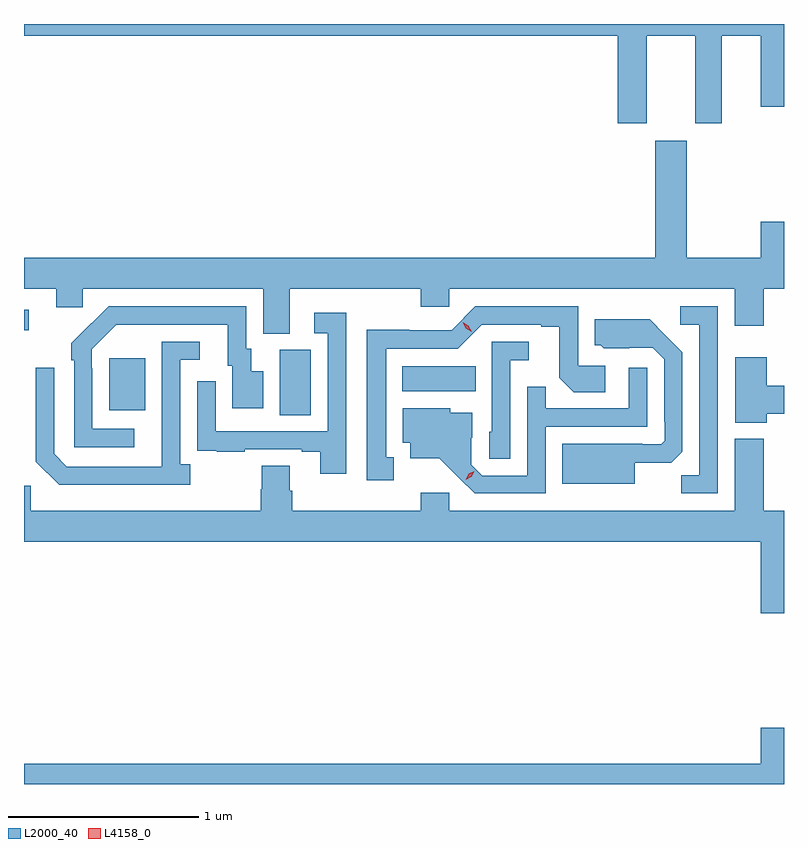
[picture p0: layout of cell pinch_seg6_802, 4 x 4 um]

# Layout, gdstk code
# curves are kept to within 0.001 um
import gdstk
lib = gdstk.Library(unit=1e-6, precision=1e-09)
def R(c, l, rs):  # rectangles x0, y0, x1, y1
    for r in rs: c.add(gdstk.rectangle(r[:2], r[2:], *l))
def P(c, l, *ps):  # polygons
    for p in ps: c.add(gdstk.Polygon(p, *l))
L2000_40 = (2000, 40)
L4158_0 = (4158, 0)

pinch_seg6_802 = lib.new_cell('pinch_seg6_802')
R(pinch_seg6_802, L2000_40, [(126.512,967.984,126.676,968.328), (125.615,968.009,125.803,968.284), (127.157,968.108,127.544,968.242), (125.166,968.43,125.191,968.538)])
P(pinch_seg6_802, L2000_40, [(128.443,969.98),(128.699,969.98),(128.699,969.519),(128.839,969.519),(128.839,969.98),(129.044,969.98),(129.044,969.606),(129.166,969.606),(129.166,970.042),(125.166,970.042),(125.166,969.98),(128.291,969.98),(128.291,969.519),(128.443,969.519)],
  [(126.565,968.648),(127.253,968.648),(127.253,968.555),(127.404,968.555),(127.404,968.648),(128.906,968.648),(128.906,968.454),(129.059,968.454),(129.059,968.648),(129.166,968.648),(129.166,969.001),(129.044,969.001),(129.044,968.812),(128.653,968.812),(128.653,969.427),(128.489,969.427),(128.489,968.812),(125.166,968.812),(125.166,968.648),(125.336,968.648),(125.336,968.55),(125.475,968.55),(125.475,968.648),(126.425,968.648),(126.425,968.413),(126.565,968.413)],
  [(128.817,968.556),(128.619,968.556),(128.619,968.46),(128.721,968.46),(128.721,967.667),(128.626,967.667),(128.626,967.572),(128.817,967.572)],
  [(125.746,967.911),(125.526,967.911),(125.526,968.231),(125.523,968.231),(125.523,968.331),(125.652,968.46),(126.239,968.46),(126.239,968.244),(126.263,968.244),(126.263,968.019),(126.424,968.019),(126.424,968.215),(126.361,968.215),(126.361,968.334),(126.336,968.334),(126.336,968.556),(125.612,968.556),(125.415,968.361),(125.415,968.273),(125.43,968.273),(125.43,967.815),(125.746,967.815)],
  [(127.111,967.761),(127.072,967.761),(127.072,968.334),(127.449,968.334),(127.575,968.46),(127.889,968.46),(127.889,968.448),(127.983,968.448),(127.983,968.18),(128.059,968.104),(128.224,968.104),(128.224,968.244),(128.082,968.244),(128.082,968.556),(127.542,968.556),(127.416,968.43),(127.194,968.43),(127.194,968.432),(126.971,968.432),(126.971,967.641),(127.111,967.641)],
  [(126.861,968.521),(126.693,968.521),(126.693,968.415),(126.765,968.415),(126.765,967.899),(126.174,967.899),(126.174,968.161),(126.078,968.161),(126.078,967.906),(126.079,967.906),(126.079,967.797),(126.181,967.797),(126.181,967.791),(126.329,967.791),(126.329,967.803),(126.629,967.803),(126.629,967.791),(126.725,967.791),(126.725,967.674),(126.861,967.674)],
  [(128.38,967.733),(128.572,967.733),(128.631,967.792),(128.631,968.314),(128.459,968.488),(128.171,968.488),(128.171,968.352),(128.202,968.352),(128.218,968.336),(128.475,968.337),(128.535,968.277),(128.535,967.948),(128.538,967.948),(128.538,967.848),(128.52,967.83),(128.42,967.83),(128.42,967.834),(128,967.834),(128,967.622),(128.38,967.622)],
  [(127.725,968.273),(127.822,968.273),(127.822,968.37),(127.629,968.37),(127.629,967.896),(127.614,967.896),(127.614,967.753),(127.725,967.753)],
  [(126.04,967.726),(125.988,967.726),(125.988,968.274),(126.091,968.274),(126.091,968.37),(125.892,968.37),(125.891,967.713),(125.391,967.713),(125.325,967.779),(125.325,968.233),(125.229,968.233),(125.229,967.739),(125.352,967.616),(126.04,967.616)],
  [(129.076,967.991),(129.166,967.991),(129.166,968.138),(129.076,968.138),(129.076,968.287),(128.909,968.287),(128.909,967.943),(129.076,967.943)],
  [(127.911,967.923),(128.445,967.923),(128.445,968.233),(128.349,968.233),(128.349,968.019),(127.913,968.019),(127.913,968.132),(127.815,968.132),(127.815,967.665),(127.578,967.665),(127.521,967.722),(127.521,967.864),(127.525,967.864),(127.525,967.996),(127.41,967.996),(127.41,968.02),(127.16,968.02),(127.16,967.838),(127.199,967.838),(127.199,967.757),(127.351,967.757),(127.538,967.572),(127.911,967.572)],
  [(129.166,967.48),(129.059,967.48),(129.059,967.858),(128.906,967.858),(128.906,967.48),(127.404,967.48),(127.404,967.576),(127.253,967.576),(127.253,967.48),(126.578,967.48),(126.578,967.586),(126.565,967.586),(126.565,967.718),(126.418,967.718),(126.418,967.593),(126.413,967.593),(126.413,967.48),(125.202,967.48),(125.202,967.612),(125.166,967.612),(125.166,967.316),(129.044,967.316),(129.044,966.942),(129.166,966.942)],
  [(129.166,966.337),(129.044,966.337),(129.044,966.148),(125.166,966.148),(125.166,966.042),(129.166,966.042)])
P(pinch_seg6_802, L4158_0, [(127.49,967.644),(127.49,967.644),(127.506,967.674),(127.537,967.689),(127.537,967.689),(127.537,967.689),(127.52,967.66),(127.49,967.644)],
  [(127.522,968.421),(127.491,968.44),(127.474,968.473),(127.474,968.473),(127.474,968.473),(127.505,968.454),(127.522,968.421),(127.522,968.421)])

lib.write_gds('pinch_seg6_802.gds')
